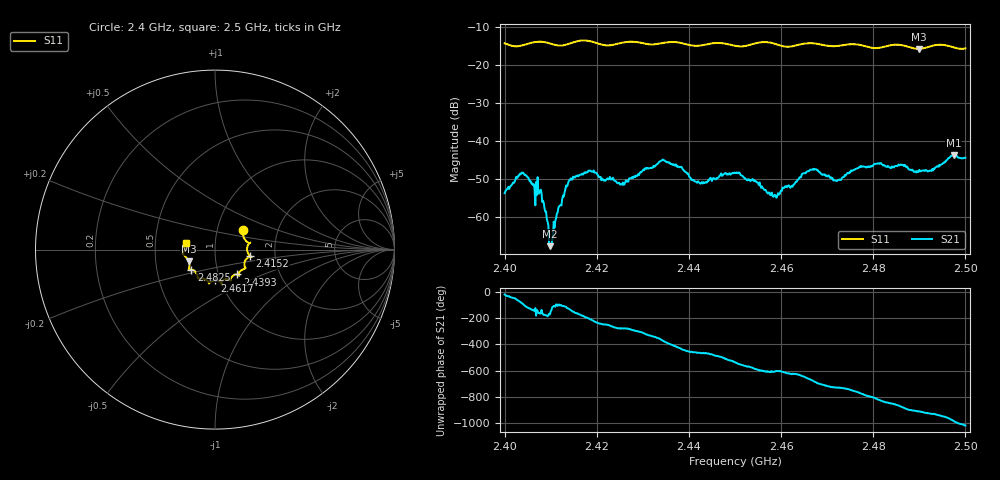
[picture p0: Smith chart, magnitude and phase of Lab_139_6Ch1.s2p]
# Hz S RI R 50
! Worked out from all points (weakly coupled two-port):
!   601 points, 2.4 GHz to 2.5 GHz, reference 50 ohm
!   highest |S21| = -43.75 dB at 2.4975 GHz (marker M1); lowest = -67.7 dB at 2.4098 GHz (marker M2)
!   lowest |S11| = -15.9 dB at 2.4898 GHz (marker M3), VSWR 1.38, Z = 36.9 - j4.93 ohm
!   |S11| at or under -10 dB: start of sweep to end of sweep
!   S12 and S22 are empty: the file has one direction only
!   S11 on the Smith chart (normalised r, x): 2.4 GHz: 1.33, +0.30; 2.4152 GHz: 1.48, -0.11; 2.4393 GHz: 1.23, -0.35; 2.4617 GHz: 0.94, -0.33; 2.4825 GHz: 0.75, -0.17; 2.5 GHz: 0.72, +0.05
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2.4e9  0.1563 0.1091  0.00194 -0.000635  0 0  0 0
2.404667e9  0.1804 0.0414  -0.00129 -0.00322  0 0  0 0
2.407667e9  0.1967 0.0384  -0.00204 -0.000596  0 0  0 0
2.409833e9  0.1875 0.031  -0.000405 -6.7e-05  0 0  0 0
2.4135e9  0.1832 -0.0184  -0.00127 -0.00216  0 0  0 0
2.415167e9  0.1953 -0.0362  -0.00305 -0.00144  0 0  0 0
2.416667e9  0.2033 -0.0414  -0.00358 -0.000154  0 0  0 0
2.4255e9  0.1675 -0.0986  0.000316 0.00263  0 0  0 0
2.433333e9  0.1331 -0.1332  0.00499 0.000706  0 0  0 0
2.439333e9  0.1241 -0.1383  0.000117 -0.00384  0 0  0 0
2.442833e9  0.0919 -0.1546  -0.000774 -0.00275  0 0  0 0
2.45e9  0.0664 -0.1643  -0.00377 -0.000235  0 0  0 0
2.458667e9  0.0344 -0.1849  -0.000742 0.0018  0 0  0 0
2.461667e9  0.000556 -0.172  -0.00043 0.00255  0 0  0 0
2.466667e9  -0.034 -0.1886  0.00293 0.00294  0 0  0 0
2.471833e9  -0.0656 -0.1624  0.00294 -0.000545  0 0  0 0
2.477333e9  -0.0958 -0.1531  0.00261 -0.00387  0 0  0 0
2.4825e9  -0.132 -0.1111  -0.00246 -0.00402  0 0  0 0
2.483333e9  -0.1393 -0.1103  -0.00284 -0.00354  0 0  0 0
2.489833e9  -0.1473 -0.0651  -0.00379 0.000879  0 0  0 0
2.4975e9  -0.1682 -0.00478  -0.000154 0.00649  0 0  0 0
2.5e9  -0.1598 0.0345  0.00306 0.00513  0 0  0 0
